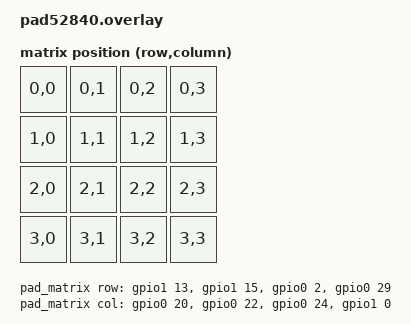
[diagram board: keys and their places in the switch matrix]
#include <dt-bindings/zmk/matrix_transform.h>
#include <physical_layouts.dtsi>

/ {
    chosen {
        zmk,kscan = &pad_matrix;
        zmk,physical-layout = &pad_layout;
        zmk,underglow = &pad_rgb;
        zmk,ext-power = &pad_power;
    };

    pad_layout: physical_layout {
        compatible = "zmk,physical-layout";
        display-name = "Pad16";
        keys =
            <&key_physical_attrs 100 100 0 0 0 0 0>,
            <&key_physical_attrs 100 100 100 0 0 0 0>,
            <&key_physical_attrs 100 100 200 0 0 0 0>,
            <&key_physical_attrs 100 100 300 0 0 0 0>,
            <&key_physical_attrs 100 100 0 100 0 0 0>,
            <&key_physical_attrs 100 100 100 100 0 0 0>,
            <&key_physical_attrs 100 100 200 100 0 0 0>,
            <&key_physical_attrs 100 100 300 100 0 0 0>,
            <&key_physical_attrs 100 100 0 200 0 0 0>,
            <&key_physical_attrs 100 100 100 200 0 0 0>,
            <&key_physical_attrs 100 100 200 200 0 0 0>,
            <&key_physical_attrs 100 100 300 200 0 0 0>,
            <&key_physical_attrs 100 100 0 300 0 0 0>,
            <&key_physical_attrs 100 100 100 300 0 0 0>,
            <&key_physical_attrs 100 100 200 300 0 0 0>,
            <&key_physical_attrs 100 100 300 300 0 0 0>;
        kscan = <&pad_matrix>;
        transform = <&pad_transform>;
    };

    pad_transform: matrix_transform {
        compatible = "zmk,matrix-transform";
        rows = <4>;
        columns = <4>;
        map = <
            RC(0,0) RC(0,1) RC(0,2) RC(0,3)
            RC(1,0) RC(1,1) RC(1,2) RC(1,3)
            RC(2,0) RC(2,1) RC(2,2) RC(2,3)
            RC(3,0) RC(3,1) RC(3,2) RC(3,3)
        >;
    };

    pad_matrix: kscan {
        compatible = "zmk,kscan-gpio-matrix";
        wakeup-source;
        diode-direction = "col2row";
        row-gpios = <&gpio1 13 (GPIO_ACTIVE_HIGH | GPIO_PULL_DOWN)>,
                    <&gpio1 15 (GPIO_ACTIVE_HIGH | GPIO_PULL_DOWN)>,
                    <&gpio0 2 (GPIO_ACTIVE_HIGH | GPIO_PULL_DOWN)>,
                    <&gpio0 29 (GPIO_ACTIVE_HIGH | GPIO_PULL_DOWN)>;
        col-gpios = <&gpio0 20 GPIO_ACTIVE_HIGH>,
                    <&gpio0 22 GPIO_ACTIVE_HIGH>,
                    <&gpio0 24 GPIO_ACTIVE_HIGH>,
                    <&gpio1 0 GPIO_ACTIVE_HIGH>;
    };

    pad_power: ext_power {
        compatible = "zmk,ext-power-generic";
        control-gpios = <&gpio1 9 GPIO_ACTIVE_HIGH>;
        init-delay-ms = <50>;
    };
};

&spi1 { status = "disabled"; };
&spi3 { status = "okay"; compatible = "nordic,nrf-spim";
    pinctrl-0 = <&pad_rgb_default>;
    pinctrl-1 = <&pad_rgb_sleep>;
    pinctrl-names = "default", "sleep";
    pad_rgb: ws2812@0 {
        compatible = "worldsemi,ws2812-spi";
        reg = <0>;
        spi-max-frequency = <4000000>;
        chain-length = <16>;
        color-mapping = <1 0 2>;
        spi-one-frame = <0x70>;
        spi-zero-frame = <0x40>;
    };
};

&pinctrl {
    pad_rgb_default: pad_rgb_default {
        group1 { psels = <NRF_PSEL(SPIM_MOSI, 0, 11)>; };
    };
    pad_rgb_sleep: pad_rgb_sleep {
        group1 {
            psels = <NRF_PSEL(SPIM_MOSI, 0, 11)>;
            low-power-enable;
        };
    };
};

/* Match the BL USER_FLASH_END and keep its power-cycle journal outside NVS. */
/* Rasi S140 7.3.0 reports SD_SIZE_GET = 0x27000. */
&code_partition { reg = <0x27000 0xc3000>; };
&flash0 {
    partitions {
        pad_replug_journal: partition@ea000 {
            label = "boot-power-journal";
            reg = <0xea000 0x1000>;
            read-only;
        };
    };
};

/* Match working Rasi BL defaults: neither DC/DC converter is enabled. */
&reg1 { regulator-initial-mode = <NRF5X_REG_MODE_LDO>; };
&reg0 { status = "disabled"; };
